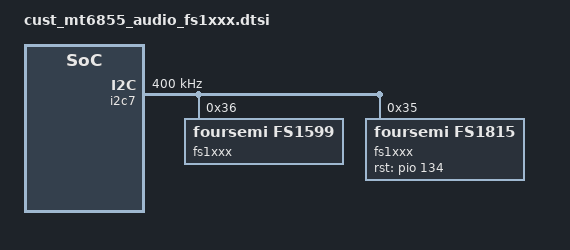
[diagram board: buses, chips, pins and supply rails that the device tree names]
/* Copyright (c) 2018, The Linux Foundation. All rights reserved.
 *
 * This program is free software; you can redistribute it and/or modify
 * it under the terms of the GNU General Public License version 2 and
 * only version 2 as published by the Free Software Foundation.
 *
 * This program is distributed in the hope that it will be useful,
 * but WITHOUT ANY WARRANTY; without even the implied warranty of
 * MERCHANTABILITY or FITNESS FOR A PARTICULAR PURPOSE.  See the
 * GNU General Public License for more details.
 */

&pio {
	fs18xx_gpio_R: fs18xx_gpio_R {
		pins_cmd_dat {
			pinmux = <PINMUX_GPIO134__FUNC_GPIO134>;
			output-low;
		};
	};
};

&i2c7 {
	clock-frequency = <400000>;
	fs1xxx@36 {
		compatible = "foursemi,fs1599";
		reg = <0x36>;
		status = "ok";
	};

	fs1xxx@35 {
		compatible = "foursemi,fs1815";
		reg = <0x35>;
		fsm,rst-gpio = <&pio 134 0>;
		pinctrl-names = "fs18xx_gpio";
		pinctrl-0 = <&fs18xx_gpio_R>;
		status = "ok";
	};
};
